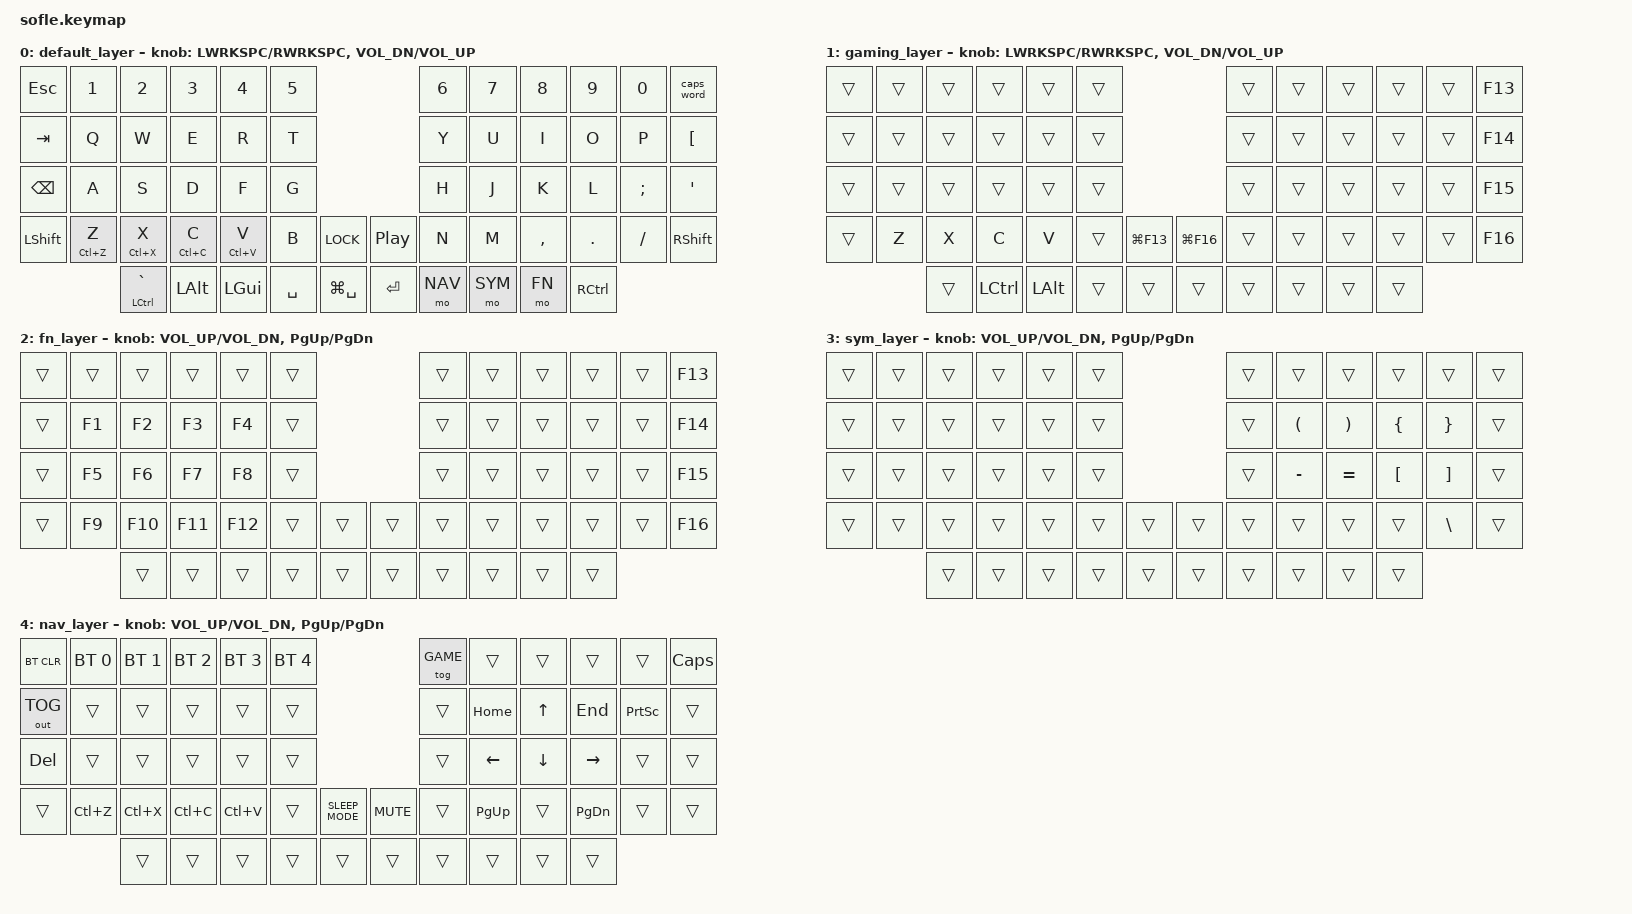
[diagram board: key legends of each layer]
/*
 * Copyright (c) 2020 The ZMK Contributors
 *
 * SPDX-License-Identifier: MIT
 */

#include <behaviors.dtsi>
#include <dt-bindings/zmk/keys.h>
#include <dt-bindings/zmk/bt.h>
#include <dt-bindings/zmk/outputs.h>

#define DEFAULT 0
#define GAME    1
#define FN      2
#define SYM     3
#define NAV     4

#define LWRKSPC LG(LC(LEFT))
#define RWRKSPC LG(LC(RIGHT))

#define SPOTLGT LG(SPACE)
#define DISCMUT LG(F13) // discord mute
#define NVDAOLY LG(F16) //nvidia overlay

// TODO: windows only? osx layer?
#define Z_UNDO  &tr LC(Z) Z
#define C_COPY  &tr LC(C) C
#define X_CUT   &tr LC(X) X
#define V_PASTE &tr LC(V) V

/ {
    behaviors {
        tr: tap-release-preferred {
            compatible = "zmk,behavior-hold-tap";
            #binding-cells = <2>;
            label = "TAP_RELEASE_PREFERRED";
            flavor = "tap-preferred";
            tapping-term-ms = <175>;
            bindings = <&kp>, <&kp>;
        };
    };
    keymap {
        compatible = "zmk,keymap";

        default_layer {
            bindings = <
&kp ESC   &kp N1 &kp N2             &kp N3   &kp N4    &kp N5                             &kp N6   &kp N7   &kp N8    &kp N9   &kp N0    &caps_word
&kp TAB   &kp Q  &kp W              &kp E    &kp R     &kp T                              &kp Y    &kp U    &kp I     &kp O    &kp P     &kp LBKT
&kp BSPC  &kp A  &kp S              &kp D    &kp F     &kp G                              &kp H    &kp J    &kp K     &kp L    &kp SEMI  &kp SQT
&kp LSHFT Z_UNDO X_CUT              C_COPY   V_PASTE   &kp B      &kp K_LOCK    &kp C_PP  &kp N    &kp M    &kp COMMA &kp DOT  &kp SLASH &kp RSHFT
                 &mt LCTRL GRAVE    &kp LALT &kp LGUI  &kp SPACE  &kp SPOTLGT   &kp RET   &mo NAV  &mo SYM  &mo FN    &kp RCTRL
            >;

            sensor-bindings = <&inc_dec_kp LWRKSPC RWRKSPC &inc_dec_kp C_VOL_DN C_VOL_UP>;
        };

        gaming_layer {
            bindings = <
&trans  &trans  &trans  &trans     &trans    &trans                              &trans  &trans  &trans  &trans  &trans  &kp F13
&trans  &trans  &trans  &trans     &trans    &trans                              &trans  &trans  &trans  &trans  &trans  &kp F14
&trans  &trans  &trans  &trans     &trans    &trans                              &trans  &trans  &trans  &trans  &trans  &kp F15
&trans  &kp Z   &kp X   &kp C      &kp V     &trans  &kp DISCMUT    &kp NVDAOLY  &trans  &trans  &trans  &trans  &trans  &kp F16
                &trans  &kp LCTRL  &kp LALT  &trans  &trans         &trans       &trans  &trans  &trans  &trans
            >;

            sensor-bindings = <&inc_dec_kp LWRKSPC RWRKSPC &inc_dec_kp C_VOL_DN C_VOL_UP>;
        };

        fn_layer {
            bindings = <
&trans  &trans  &trans  &trans   &trans    &trans                              &trans  &trans  &trans  &trans  &trans  &kp F13
&trans  &kp F1  &kp F2  &kp F3   &kp F4    &trans                              &trans  &trans  &trans  &trans  &trans  &kp F14
&trans  &kp F5  &kp F6  &kp F7   &kp F8    &trans                              &trans  &trans  &trans  &trans  &trans  &kp F15
&trans  &kp F9  &kp F10 &kp F11  &kp F12   &trans  &trans              &trans  &trans  &trans  &trans  &trans  &trans  &kp F16
                &trans  &trans   &trans    &trans  &trans              &trans  &trans  &trans  &trans  &trans
            >;

            sensor-bindings = <&inc_dec_kp C_VOL_UP C_VOL_DN &inc_dec_kp PG_UP PG_DN>;
        };

        sym_layer {
            bindings = <
&trans  &trans  &trans  &trans   &trans    &trans                              &trans  &trans    &trans    &trans   &trans    &trans
&trans  &trans  &trans  &trans   &trans    &trans                              &trans  &kp LPAR  &kp RPAR  &kp LBRC &kp RBRC  &trans
&trans  &trans  &trans  &trans   &trans    &trans                              &trans  &kp MINUS &kp EQUAL &kp LBKT &kp RBKT  &trans
&trans  &trans  &trans  &trans   &trans    &trans  &trans              &trans  &trans  &trans    &trans    &trans   &kp BSLH  &trans
                &trans  &trans   &trans    &trans  &trans              &trans  &trans  &trans    &trans    &trans
            >;

            sensor-bindings = <&inc_dec_kp C_VOL_UP C_VOL_DN &inc_dec_kp PG_UP PG_DN>;
        };

        nav_layer {
            bindings = <
&bt BT_CLR      &bt BT_SEL 0 &bt BT_SEL 1 &bt BT_SEL 2 &bt BT_SEL 3 &bt BT_SEL 4                              &tog GAME &trans    &trans   &trans    &trans     &kp CLCK
&out OUT_TOG    &trans       &trans       &trans       &trans       &trans                                    &trans    &kp HOME  &kp UP   &kp END   &kp PSCRN  &trans
&kp DEL         &trans       &trans       &trans       &trans       &trans                                    &trans    &kp LEFT  &kp DOWN &kp RIGHT &trans     &trans
&trans          &kp LC(Z)    &kp LC(X)    &kp LC(C)    &kp LC(V)    &trans        &kp C_SLEEP_MODE &kp C_MUTE &trans    &kp PG_UP &trans   &kp PG_DN &trans     &trans
                             &trans       &trans       &trans       &trans        &trans           &trans     &trans    &trans    &trans   &trans
            >;

            sensor-bindings = <&inc_dec_kp C_VOL_UP C_VOL_DN &inc_dec_kp PG_UP PG_DN>;
        };
    };
};
